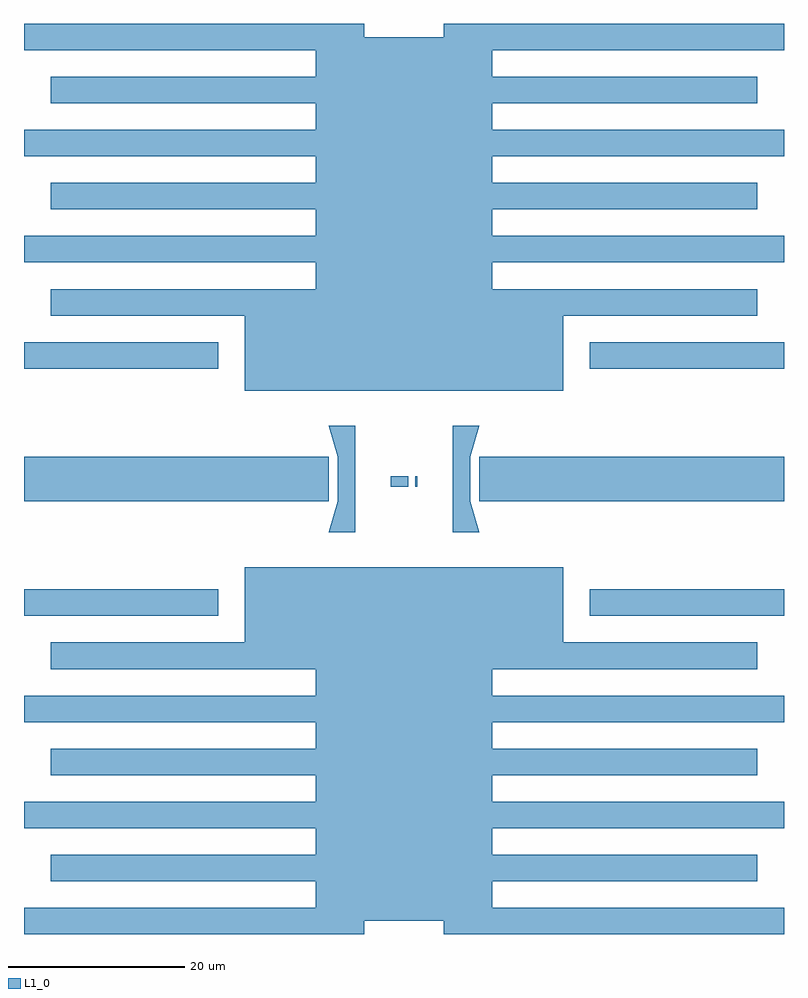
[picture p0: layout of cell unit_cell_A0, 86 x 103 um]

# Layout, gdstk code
from math import pi, radians
import gdstk
lib = gdstk.Library(unit=1e-6, precision=1e-09)
def R(c, l, rs):  # rectangles x0, y0, x1, y1
    for r in rs: c.add(gdstk.rectangle(r[:2], r[2:], *l))
def P(c, l, *ps):  # polygons
    for p in ps: c.add(gdstk.Polygon(p, *l))
L1_0 = (1, 0)

unnamed_80 = lib.new_cell('Unnamed_80')
P(unnamed_80, L1_0, [(38.5,0),(38.5,4.5),(0,4.5),(0,7.5),(38.5,7.5),(38.5,16.5),(0,16.5),(0,19.5),(38.5,19.5),(38.5,28.5),(0,28.5),(0,31.5),(22,31.5),(22,40),(50,40),(50,0)])

straight_l38p5_n2_csxs_e = lib.new_cell('straight_L38p5_N2_CSxs_e9659eb0')
R(straight_l38p5_n2_csxs_e, L1_0, [(0,-1.5,38.5,1.5)])

straight_array_n3_s9_l3_ = lib.new_cell('straight_array_N3_S9_L3_b91b2c6a')
straight_array_n3_s9_l3_.add(gdstk.Reference(straight_l38p5_n2_csxs_e, (0,0)))
straight_array_n3_s9_l3_.add(gdstk.Reference(straight_l38p5_n2_csxs_e, (0,12)))
straight_array_n3_s9_l3_.add(gdstk.Reference(straight_l38p5_n2_csxs_e, (0,24)))

straight_l22_n2_csxs_e96 = lib.new_cell('straight_L22_N2_CSxs_e9659eb0')
R(straight_l22_n2_csxs_e96, L1_0, [(0,-1.5,22,1.5)])

unnamed_77 = lib.new_cell('Unnamed_77')
unnamed_77.add(gdstk.Reference(straight_array_n3_s9_l3_, (-3,0)))
unnamed_77.add(gdstk.Reference(straight_l22_n2_csxs_e96, (-3,36)))

straight_l34p5_n2_csxs_3 = lib.new_cell('straight_L34p5_N2_CSxs_3e6774cf')
R(straight_l34p5_n2_csxs_3, L1_0, [(0,-2.5,34.5,2.5)])

triangle_x6_x2p5_y2_y3_l = lib.new_cell('triangle_X6_X2p5_Y2_Y3_L1_0')
P(triangle_x6_x2p5_y2_y3_l, L1_0, [(0,0),(0,2),(2.5,2),(6,3),(6,0)])

unnamed_78 = lib.new_cell('Unnamed_78')
unnamed_78.add(gdstk.Reference(straight_l34p5_n2_csxs_3, (-3,50)))
unnamed_78.add(gdstk.Reference(triangle_x6_x2p5_y2_y3_l, (34.5,50), rotation=3*pi/2, x_reflection=True))

unnamed_81 = lib.new_cell('Unnamed_81')
unnamed_81.add(gdstk.Reference(unnamed_80, (0,0)))
unnamed_81.add(gdstk.Reference(unnamed_77, (0,0)))
unnamed_81.add(gdstk.Reference(unnamed_78, (0,0)))

rectangle_s2_0p6_lwg_cf_ = lib.new_cell('rectangle_S2_0p6_LWG_CF_a6a46f17')
R(rectangle_s2_0p6_lwg_cf_, L1_0, [(0,0,2,0.6)])

rectangle_s0p2_1p2_lwg__ = lib.new_cell('rectangle_S0p2_1p2_LWG__107b6a9b')
R(rectangle_s0p2_1p2_lwg__, L1_0, [(0,0,0.2,1.2)])

unnamed_82 = lib.new_cell('Unnamed_82')
unnamed_82.add(gdstk.Reference(rectangle_s2_0p6_lwg_cf_, (0,0)))
unnamed_82.add(gdstk.Reference(rectangle_s0p2_1p2_lwg__, (2.8,-0.6)))

unit_cell_a0 = lib.new_cell('unit_cell_A0')
unit_cell_a0.add(gdstk.Reference(unnamed_81, (0,0)))
unit_cell_a0.add(gdstk.Reference(unnamed_81, (80,0), rotation=pi, x_reflection=True))
unit_cell_a0.add(gdstk.Reference(unnamed_81, (0,100), x_reflection=True))
unit_cell_a0.add(gdstk.Reference(unnamed_81, (80,100), rotation=pi))
unit_cell_a0.add(gdstk.Reference(unnamed_82, (38.5,49.7)))
unit_cell_a0.add(gdstk.Reference(unnamed_82, (38.5,49.7), x_reflection=True))

lib.write_gds('unit_cell_A0.gds')
